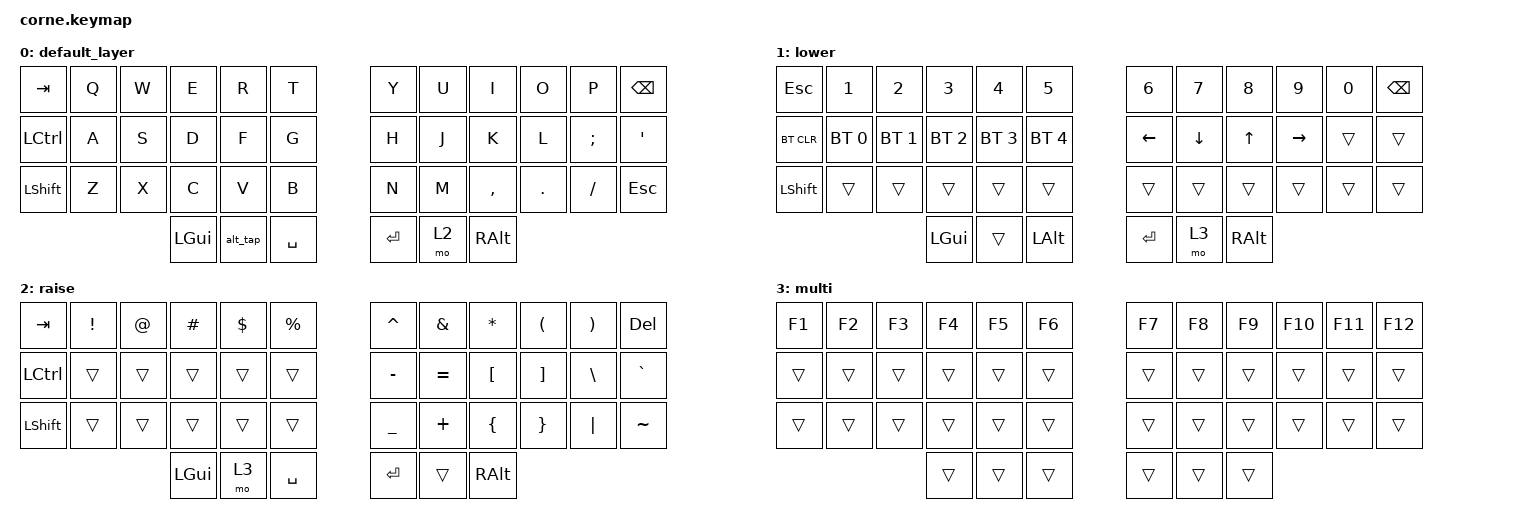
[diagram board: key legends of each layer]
/*
 * Copyright (c) 2020 The ZMK Contributors
 *
 * SPDX-License-Identifier: MIT
 */

#include <behaviors.dtsi>
#include <dt-bindings/zmk/bt.h>
#include <dt-bindings/zmk/keys.h>

/ {
    behaviors {
        alt_tap: alt_tap {
            compatible = "zmk,behavior-tap-dance";
            label = "ALT_TAP";
            #binding-cells = <0>;
            bindings = <&mo 1>, <&kp LEFT_ALT>;
        };
    };

    keymap {
        compatible = "zmk,keymap";

        default_layer {
            // -----------------------------------------------------------------------------------------
            // |  TAB |  Q  |  W  |  E  |  R  |  T  |   |  Y  |  U   |  I  |  O  |  P  | BSPC |
            // | CTRL |  A  |  S  |  D  |  F  |  G  |   |  H  |  J   |  K  |  L  |  ;  |  '   |
            // | SHFT |  Z  |  X  |  C  |  V  |  B  |   |  N  |  M   |  ,  |  .  |  /  | ESC  |
            //                    | GUI | LWR | SPC |   | ENT | RSE  | ALT |

            bindings = <
&kp TAB    &kp Q  &kp W  &kp E     &kp R     &kp T        &kp Y    &kp U  &kp I      &kp O    &kp P     &kp BSPC
&kp LCTRL  &kp A  &kp S  &kp D     &kp F     &kp G        &kp H    &kp J  &kp K      &kp L    &kp SEMI  &kp SQT
&kp LSHFT  &kp Z  &kp X  &kp C     &kp V     &kp B        &kp N    &kp M  &kp COMMA  &kp DOT  &kp FSLH  &kp ESC
                         &kp LGUI  &alt_tap  &kp SPACE    &kp RET  &mo 2  &kp RALT
            >;
        };

        lower {
            // -----------------------------------------------------------------------------------------
            // |  TAB |  1  |  2  |  3  |  4  |  5  |   |  6  |  7  |  8  |  9  |  0  | BSPC |
            // | BTCLR| BT1 | BT2 | BT3 | BT4 | BT5 |   | LFT | DWN |  UP | RGT |     |      |
            // | SHFT |     |     |     |     |     |   |     |     |     |     |     |      |
            //                    | GUI |     | SPC |   | ENT |     | ALT |

            bindings = <
&kp ESC     &kp N1        &kp N2        &kp N3        &kp N4        &kp N5          &kp N6    &kp N7    &kp N8    &kp N9     &kp N0  &kp BSPC
&bt BT_CLR  &bt BT_SEL 0  &bt BT_SEL 1  &bt BT_SEL 2  &bt BT_SEL 3  &bt BT_SEL 4    &kp LEFT  &kp DOWN  &kp UP    &kp RIGHT  &trans  &trans
&kp LSHFT   &trans        &trans        &trans        &trans        &trans          &trans    &trans    &trans    &trans     &trans  &trans
                                        &kp LGUI      &trans        &kp LEFT_ALT    &kp RET   &mo 3     &kp RALT
            >;
        };

        raise {
            // -----------------------------------------------------------------------------------------
            // |  TAB |  !  |  @  |  #  |  $  |  %  |   |  ^  |  &  |  *  |  (  |  )  | BSPC |
            // | CTRL |     |     |     |     |     |   |  -  |  =  |  [  |  ]  |  \  |  `   |
            // | SHFT |     |     |     |     |     |   |  _  |  +  |  {  |  }  | "|" |  ~   |
            //                    | GUI |     | SPC |   | ENT |     | ALT |

            bindings = <
&kp TAB    &kp EXCL  &kp AT  &kp HASH  &kp DLLR  &kp PRCNT    &kp CARET  &kp AMPS   &kp ASTRK  &kp LPAR  &kp RPAR  &kp DELETE
&kp LCTRL  &trans    &trans  &trans    &trans    &trans       &kp MINUS  &kp EQUAL  &kp LBKT   &kp RBKT  &kp BSLH  &kp GRAVE
&kp LSHFT  &trans    &trans  &trans    &trans    &trans       &kp UNDER  &kp PLUS   &kp LBRC   &kp RBRC  &kp PIPE  &kp TILDE
                             &kp LGUI  &mo 3     &kp SPACE    &kp RET    &trans     &kp RALT
            >;
        };

        multi {
            bindings = <
&kp F1  &kp F2  &kp F3  &kp F4  &kp F5  &kp F6    &kp F7  &kp F8  &kp F9  &kp F10  &kp F11  &kp F12
&trans  &trans  &trans  &trans  &trans  &trans    &trans  &trans  &trans  &trans   &trans   &trans
&trans  &trans  &trans  &trans  &trans  &trans    &trans  &trans  &trans  &trans   &trans   &trans
                        &trans  &trans  &trans    &trans  &trans  &trans
            >;
        };
    };
};
